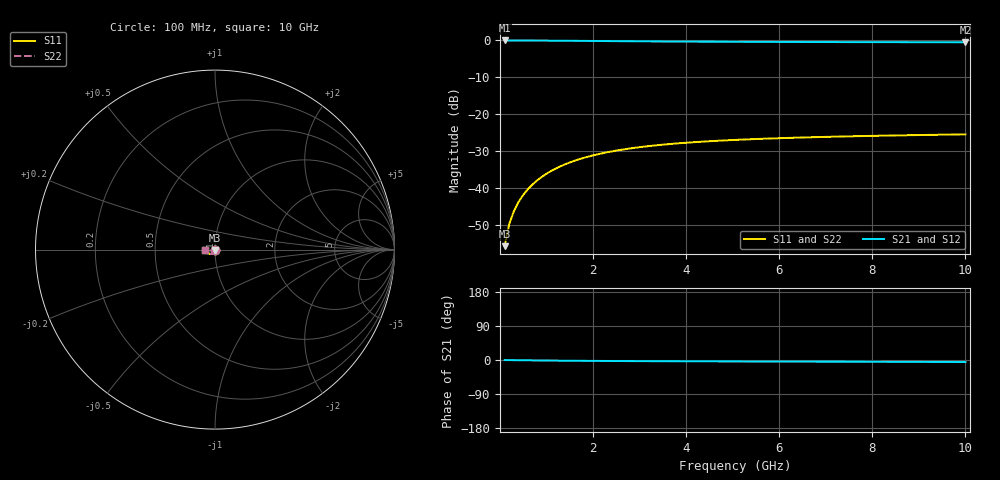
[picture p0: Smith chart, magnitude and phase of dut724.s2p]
! Touchstone file exported from HFSS 2024.1.0
!  File:  C:/UserFiles/LocalFiles/RDL_TSV_Batchsim/temp_TSV1_724_1779868594.aedt
!  Generated:  04:02:04 PM May 27, 2026
!  Design:  TSV1
!  Project:  temp_TSV1_724_1779868594
!  Setup:  Setup1
!  Solution:  Sweep
! Variables:
!  dtsv = 13.26um
!  hbump = 3um
!  htsv = 82.02um
!  lrdl = 252.1521522um
!  p = 40
!  p1 = 58.44um
!  t = 500um
!  trdl = 3um
!  wrdl = 24.89489489um
# GHz S MA R 50.000000
! Terminal data exported
! Port[1] = TSV22_T1
! Port[2] = TSV22_T2
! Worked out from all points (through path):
!   100 points, 100 MHz to 10 GHz, reference 50 ohm
!   highest |S21| = 0.00 dB at 100 MHz (marker M1); lowest = -0.5 dB at 10 GHz (marker M2)
!   lowest |S11| = -55.8 dB at 100 MHz (marker M3), VSWR 1.00, Z = 50 - j0.162 ohm
!   |S11| at or under -10 dB: start of sweep to end of sweep
!   |S22| runs from -55.8 to -25.5 dB; largest |S21 - S12| = 4e-15
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0.1  0.001625 -88.9  0.9999 -0.1  0.9999 -0.1  0.001625 -88.9
! Gamma 0 0 0 0
! Port Impedance 50 0 50 0
0.2  0.003247 -92.3  0.9997 -0.3  0.9997 -0.3  0.003247 -92.3
0.3  0.004865 -94.7  0.9994 -0.4  0.9994 -0.4  0.004865 -94.7
0.4  0.006472 -96.9  0.999 -0.6  0.999 -0.6  0.006472 -96.9
0.5  0.008064 -99.0  0.9985 -0.7  0.9985 -0.7  0.008064 -99.0
0.6  0.009632 -101.0  0.9979 -0.9  0.9979 -0.9  0.009632 -101.0
0.7  0.01117 -103.0  0.9972 -1.0  0.9972 -1.0  0.01117 -103.0
0.8  0.01268 -105.0  0.9964 -1.1  0.9964 -1.1  0.01268 -105.0
0.9  0.01416 -106.9  0.9956 -1.3  0.9956 -1.3  0.01416 -106.9
1.1  0.017 -110.6  0.9938 -1.5  0.9938 -1.5  0.017 -110.6
1.4  0.02094 -115.9  0.9907 -1.8  0.9907 -1.8  0.02094 -115.9
1.6  0.02335 -119.2  0.9885 -2.0  0.9885 -2.0  0.02335 -119.2
1.8  0.02558 -122.4  0.9862 -2.2  0.9862 -2.2  0.02558 -122.4
2.1  0.02862 -126.8  0.9829 -2.4  0.9829 -2.4  0.02862 -126.8
2.5  0.03211 -132.1  0.9785 -2.7  0.9785 -2.7  0.03211 -132.1
2.9  0.03506 -136.9  0.9745 -2.9  0.9745 -2.9  0.03506 -136.9
3.4  0.03811 -142.2  0.97 -3.2  0.97 -3.2  0.03811 -142.2
4.2  0.04187 -149.3  0.964 -3.5  0.964 -3.5  0.04187 -149.3
5.1  0.04497 -156.0  0.9588 -3.8  0.9588 -3.8  0.04497 -156.0
6.7  0.04873 -165.4  0.9524 -4.3  0.9524 -4.3  0.04873 -165.4
8.4  0.05141 -173.2  0.9481 -4.8  0.9481 -4.8  0.05141 -173.2
10  0.0533 -179.4  0.9453 -5.4  0.9453 -5.4  0.0533 -179.4
